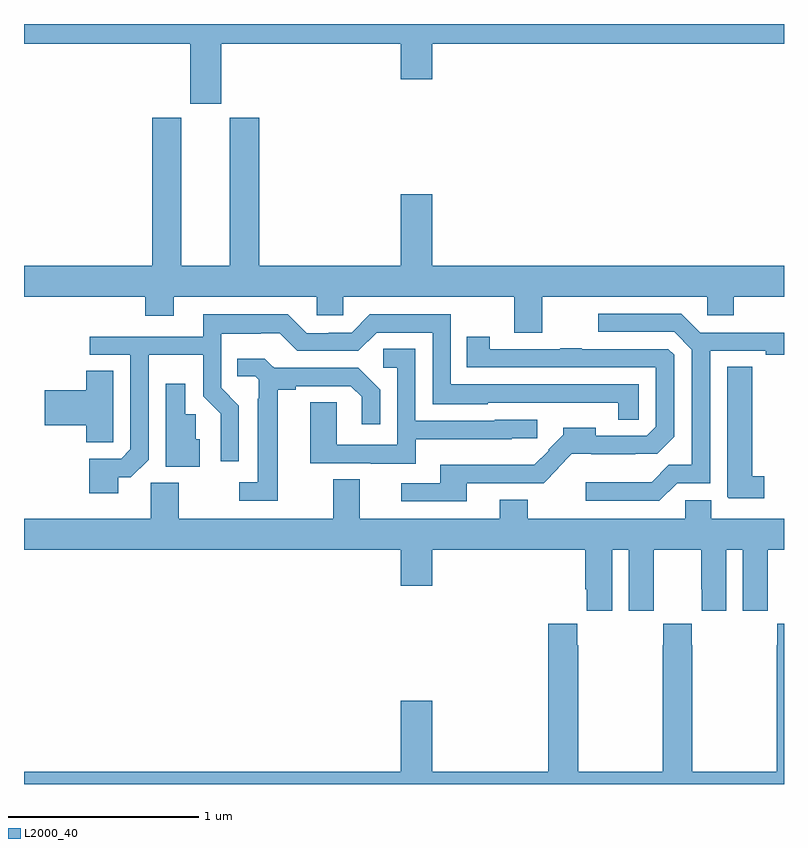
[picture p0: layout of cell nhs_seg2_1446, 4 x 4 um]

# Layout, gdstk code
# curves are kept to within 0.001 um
import gdstk
lib = gdstk.Library(unit=1e-6, precision=1e-09)
def P(c, l, *ps):  # polygons
    for p in ps: c.add(gdstk.Polygon(p, *l))
L2000_40 = (2000, 40)

nhs_seg2_1446 = lib.new_cell('nhs_seg2_1446')
P(nhs_seg2_1446, L2000_40, [(188.038,587.696),(188.984,587.696),(188.984,587.508),(189.148,587.508),(189.148,587.696),(191,587.696),(191,587.8),(187,587.8),(187,587.696),(187.874,587.696),(187.874,587.379),(188.038,587.379)],
  [(188.237,587.307),(188.084,587.307),(188.084,586.528),(187.828,586.528),(187.828,587.307),(187.676,587.307),(187.676,586.528),(187,586.528),(187,586.364),(187.637,586.364),(187.637,586.265),(187.789,586.265),(187.789,586.364),(188.541,586.364),(188.541,586.266),(188.679,586.266),(188.679,586.364),(189.58,586.364),(189.58,586.174),(189.727,586.174),(189.727,586.364),(190.596,586.364),(190.596,586.266),(190.735,586.266),(190.735,586.364),(191,586.364),(191,586.528),(189.148,586.528),(189.148,586.903),(188.984,586.903),(188.984,586.528),(188.237,586.528)],
  [(190.437,585.384),(190.611,585.384),(190.611,586.08),(190.904,586.08),(190.904,586.06),(191,586.06),(191,586.176),(190.558,586.176),(190.459,586.275),(190.023,586.275),(190.023,586.179),(190.422,586.179),(190.515,586.086),(190.515,585.479),(190.394,585.479),(190.303,585.388),(189.957,585.388),(189.957,585.291),(190.344,585.291)],
  [(187.495,585.415),(187.563,585.415),(187.656,585.507),(187.656,586.058),(187.944,586.058),(187.944,585.842),(188.036,585.75),(188.036,585.498),(188.13,585.498),(188.13,585.792),(188.037,585.885),(188.037,586.169),(188.246,586.169),(188.246,586.173),(188.346,586.173),(188.439,586.08),(188.76,586.08),(188.856,586.176),(189.15,586.176),(189.15,585.8),(189.441,585.8),(189.441,585.807),(190.128,585.806),(190.128,585.718),(190.236,585.718),(190.236,585.903),(189.246,585.903),(189.246,586.272),(188.82,586.272),(188.724,586.176),(188.604,586.176),(188.604,586.173),(188.487,586.173),(188.387,586.273),(187.943,586.273),(187.943,586.155),(187.347,586.155),(187.347,586.059),(187.56,586.059),(187.56,585.561),(187.512,585.513),(187.343,585.513),(187.343,585.33),(187.495,585.33)],
  [(189.331,585.384),(189.735,585.384),(189.811,585.461),(189.809,585.463),(189.883,585.537),(190.217,585.536),(190.217,585.538),(190.333,585.538),(190.422,585.627),(190.422,586.059),(190.392,586.089),(189.935,586.089),(189.935,586.094),(189.823,586.094),(189.823,586.089),(189.45,586.089),(189.45,586.153),(189.331,586.153),(189.331,585.993),(190.326,585.993),(190.326,585.681),(190.278,585.633),(190.009,585.633),(190.009,585.676),(189.838,585.676),(189.838,585.637),(189.759,585.558),(189.762,585.555),(189.686,585.479),(189.584,585.479),(189.584,585.481),(189.191,585.481),(189.191,585.384),(188.985,585.384),(188.985,585.288),(189.331,585.288)],
  [(189.061,585.614),(189.567,585.614),(189.567,585.621),(189.702,585.621),(189.702,585.717),(189.477,585.717),(189.477,585.711),(189.06,585.711),(189.06,586.091),(188.892,586.091),(188.892,585.99),(188.964,585.99),(188.964,585.585),(188.646,585.585),(188.646,585.809),(188.507,585.809),(188.507,585.489),(188.825,585.489),(188.825,585.485),(189.061,585.485)],
  [(188.335,585.874),(188.431,585.874),(188.431,585.894),(188.72,585.894),(188.777,585.837),(188.777,585.693),(188.874,585.693),(188.874,585.874),(188.758,585.99),(188.316,585.99),(188.268,586.037),(188.122,586.037),(188.122,585.945),(188.217,585.945),(188.235,585.927),(188.235,585.827),(188.231,585.827),(188.231,585.387),(188.133,585.387),(188.133,585.291),(188.335,585.291)],
  [(190.897,585.419),(190.834,585.419),(190.834,585.995),(190.7,585.995),(190.7,585.313),(190.71,585.303),(190.897,585.303)],
  [(187.47,585.706),(187.471,585.706),(187.471,585.974),(187.328,585.974),(187.328,585.872),(187.11,585.872),(187.11,585.689),(187.328,585.689),(187.328,585.598),(187.47,585.598)],
  [(187.924,585.615),(187.905,585.615),(187.905,585.747),(187.849,585.747),(187.849,585.907),(187.745,585.907),(187.745,585.47),(187.924,585.47)],
  [(190.096,585.032),(190.184,585.032),(190.184,584.712),(190.314,584.712),(190.314,584.824),(190.315,584.824),(190.315,585.032),(190.565,585.032),(190.565,584.824),(190.566,584.824),(190.566,584.712),(190.696,584.712),(190.696,585.032),(190.784,585.032),(190.784,584.712),(190.914,584.712),(190.914,584.824),(190.915,584.824),(190.915,585.032),(191,585.032),(191,585.196),(190.618,585.196),(190.618,585.294),(190.479,585.294),(190.479,585.196),(189.651,585.196),(189.651,585.295),(189.503,585.295),(189.503,585.196),(188.767,585.196),(188.767,585.404),(188.627,585.404),(188.627,585.196),(187.815,585.196),(187.815,585.385),(187.668,585.385),(187.668,585.196),(187,585.196),(187,585.032),(188.984,585.032),(188.984,584.844),(189.148,584.844),(189.148,585.032),(189.953,585.032),(189.953,584.824),(189.962,584.824),(189.962,584.712),(190.096,584.712)],
  [(191,584.644),(190.965,584.644),(190.965,584.531),(190.963,584.531),(190.963,583.864),(190.518,583.864),(190.518,584.531),(190.515,584.531),(190.515,584.644),(190.365,584.644),(190.365,584.531),(190.363,584.531),(190.363,583.864),(189.918,583.864),(189.918,584.531),(189.911,584.531),(189.911,584.644),(189.758,584.644),(189.758,583.864),(189.148,583.864),(189.148,584.239),(188.984,584.239),(188.984,583.864),(187,583.864),(187,583.8),(191,583.8)])

lib.write_gds('nhs_seg2_1446.gds')
